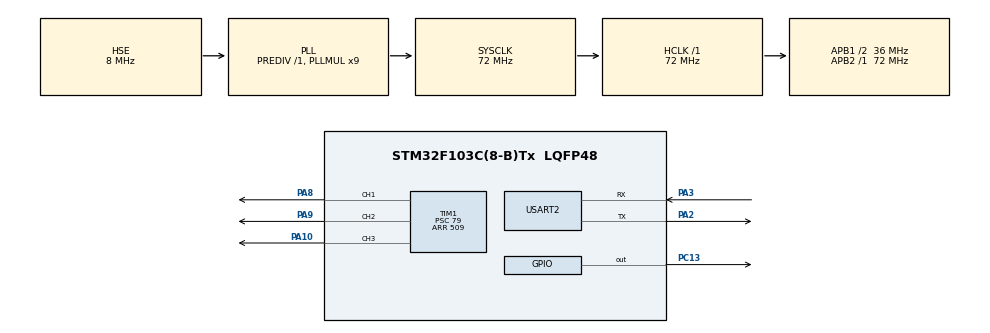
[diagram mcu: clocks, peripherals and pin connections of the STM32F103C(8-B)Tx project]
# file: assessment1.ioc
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Mcu.Family=STM32F1
Mcu.Name=STM32F103C(8-B)Tx
Mcu.Package=LQFP48
NVIC.PriorityGroup=NVIC_PRIORITYGROUP_4
NVIC.USART2_IRQn=true\:0\:0\:false\:false\:true\:true\:true\:true
PA10.Signal=S_TIM1_CH3
PA13.Mode=Serial_Wire
PA13.Signal=SYS_JTMS-SWDIO
PA14.Mode=Serial_Wire
PA14.Signal=SYS_JTCK-SWCLK
PA2.Mode=Asynchronous
PA2.Signal=USART2_TX
PA3.Mode=Asynchronous
PA3.Signal=USART2_RX
PA8.Signal=S_TIM1_CH1
PA9.Signal=S_TIM1_CH2
PC13-TAMPER-RTC.Signal=GPIO_Output
PD0-OSC_IN.Mode=HSE-External-Oscillator
PD0-OSC_IN.Signal=RCC_OSC_IN
PD1-OSC_OUT.Mode=HSE-External-Oscillator
PD1-OSC_OUT.Signal=RCC_OSC_OUT
ProjectManager.HeapSize=0x200
ProjectManager.StackSize=0x400
ProjectManager.TargetToolchain=CMake
RCC.AHBFreq_Value=72000000
RCC.APB1CLKDivider=RCC_HCLK_DIV2
RCC.APB1Freq_Value=36000000
RCC.APB1TimFreq_Value=72000000
RCC.APB2Freq_Value=72000000
RCC.APB2TimFreq_Value=72000000
RCC.HCLKFreq_Value=72000000
RCC.PLLMUL=RCC_PLL_MUL9
RCC.PLLSourceVirtual=RCC_PLLSOURCE_HSE
RCC.SYSCLKFreq_VALUE=72000000
RCC.SYSCLKSource=RCC_SYSCLKSOURCE_PLLCLK
RCC.USBFreq_Value=72000000
SH.S_TIM1_CH1.0=TIM1_CH1,PWM Generation1 CH1
SH.S_TIM1_CH2.0=TIM1_CH2,PWM Generation2 CH2
SH.S_TIM1_CH3.0=TIM1_CH3,PWM Generation3 CH3
TIM1.Channel-PWM\ Generation1\ CH1=TIM_CHANNEL_1
TIM1.Channel-PWM\ Generation2\ CH2=TIM_CHANNEL_2
TIM1.Channel-PWM\ Generation3\ CH3=TIM_CHANNEL_3
TIM1.Period=509
TIM1.Prescaler=79
USART2.VirtualMode=VM_ASYNC
board=custom

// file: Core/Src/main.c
/* USER CODE BEGIN Header */
/**
  ******************************************************************************
  * @file           : main.c
  * @brief          : Main program body
  ******************************************************************************
  * @attention
  *
  * Copyright (c) 2026 STMicroelectronics.
  * All rights reserved.
  *
  * This software is licensed under terms that can be found in the LICENSE file
  * in the root directory of this software component.
  * If no LICENSE file comes with this software, it is provided AS-IS.
  *
  ******************************************************************************
  */
/* USER CODE END Header */
#include "main.h"
#include "stm32f1xx_hal_uart.h"
#include <stdint.h>

/* USER CODE BEGIN PD */
uint8_t rx;
uint8_t rxindex = 0;
uint8_t rxs[6];
uint8_t receive[6] = {0};
/* USER CODE END PD */

TIM_HandleTypeDef htim1;

UART_HandleTypeDef huart2;

void SystemClock_Config(void);
static void MX_GPIO_Init(void);
static void MX_TIM1_Init(void);
static void MX_USART2_UART_Init(void);

/* USER CODE BEGIN 0 */
void HAL_UART_RxCpltCallback(UART_HandleTypeDef *huart);
int hexCharToValue(uint8_t c);
/* USER CODE END 0 */

int main(void)
{

  /* MCU Configuration--------------------------------------------------------*/

  /* Reset of all peripherals, Initializes the Flash interface and the Systick. */
  HAL_Init();

  /* Configure the system clock */
  SystemClock_Config();

  /* Initialize all configured peripherals */
  MX_GPIO_Init();
  MX_TIM1_Init();
  MX_USART2_UART_Init();
  /* USER CODE BEGIN 2 */
  HAL_UART_Receive_IT(&huart2,&rx,1);
  if (HAL_TIM_PWM_Start(&htim1, TIM_CHANNEL_1) != HAL_OK)
  {
    Error_Handler();
  }
  if (HAL_TIM_PWM_Start(&htim1, TIM_CHANNEL_2) != HAL_OK)
  {
    Error_Handler();
  }
  if (HAL_TIM_PWM_Start(&htim1, TIM_CHANNEL_3) != HAL_OK)
  {
    Error_Handler();
  }

  /* USER CODE END 2 */

  /* Infinite loop */
  /* USER CODE BEGIN WHILE */

  int red = 0;
  int green = 0;
  int blue = 0;
  while (1)
  {
    red = (int)hexCharToValue(receive[0]) * 16 + (int)hexCharToValue(receive[1]);
    green = (int)hexCharToValue(receive[2]) * 16 + (int)hexCharToValue(receive[3]);
    blue = (int)hexCharToValue(receive[4]) * 16 + (int)hexCharToValue(receive[5]);
    /* USER CODE END WHILE */

    /* USER CODE BEGIN 3 */
    __HAL_TIM_SET_COMPARE(&htim1, TIM_CHANNEL_1, red);
    HAL_Delay(50);
    __HAL_TIM_SET_COMPARE(&htim1, TIM_CHANNEL_2, green);
    HAL_Delay(50);
    __HAL_TIM_SET_COMPARE(&htim1, TIM_CHANNEL_3, blue);
    HAL_Delay(50);
  }
  /* USER CODE END 3 */
}

void SystemClock_Config(void)
{
  RCC_OscInitTypeDef RCC_OscInitStruct = {0};
  RCC_ClkInitTypeDef RCC_ClkInitStruct = {0};

  /** Initializes the RCC Oscillators according to the specified parameters
  * in the RCC_OscInitTypeDef structure.
  */
  RCC_OscInitStruct.OscillatorType = RCC_OSCILLATORTYPE_HSE;
  RCC_OscInitStruct.HSEState = RCC_HSE_ON;
  RCC_OscInitStruct.HSEPredivValue = RCC_HSE_PREDIV_DIV1;
  RCC_OscInitStruct.HSIState = RCC_HSI_ON;
  RCC_OscInitStruct.PLL.PLLState = RCC_PLL_ON;
  RCC_OscInitStruct.PLL.PLLSource = RCC_PLLSOURCE_HSE;
  RCC_OscInitStruct.PLL.PLLMUL = RCC_PLL_MUL9;
  if (HAL_RCC_OscConfig(&RCC_OscInitStruct) != HAL_OK)
  {
    Error_Handler();
  }

  /** Initializes the CPU, AHB and APB buses clocks
  */
  RCC_ClkInitStruct.ClockType = RCC_CLOCKTYPE_HCLK|RCC_CLOCKTYPE_SYSCLK
                              |RCC_CLOCKTYPE_PCLK1|RCC_CLOCKTYPE_PCLK2;
  RCC_ClkInitStruct.SYSCLKSource = RCC_SYSCLKSOURCE_PLLCLK;
  RCC_ClkInitStruct.AHBCLKDivider = RCC_SYSCLK_DIV1;
  RCC_ClkInitStruct.APB1CLKDivider = RCC_HCLK_DIV2;
  RCC_ClkInitStruct.APB2CLKDivider = RCC_HCLK_DIV1;

  if (HAL_RCC_ClockConfig(&RCC_ClkInitStruct, FLASH_LATENCY_2) != HAL_OK)
  {
    Error_Handler();
  }
}

static void MX_TIM1_Init(void)
{

  TIM_MasterConfigTypeDef sMasterConfig = {0};
  TIM_OC_InitTypeDef sConfigOC = {0};
  TIM_BreakDeadTimeConfigTypeDef sBreakDeadTimeConfig = {0};

  htim1.Instance = TIM1;
  htim1.Init.Prescaler = 79;
  htim1.Init.CounterMode = TIM_COUNTERMODE_UP;
  htim1.Init.Period = 509;
  htim1.Init.ClockDivision = TIM_CLOCKDIVISION_DIV1;
  htim1.Init.RepetitionCounter = 0;
  htim1.Init.AutoReloadPreload = TIM_AUTORELOAD_PRELOAD_DISABLE;
  if (HAL_TIM_PWM_Init(&htim1) != HAL_OK)
  {
    Error_Handler();
  }
  sMasterConfig.MasterOutputTrigger = TIM_TRGO_RESET;
  sMasterConfig.MasterSlaveMode = TIM_MASTERSLAVEMODE_DISABLE;
  if (HAL_TIMEx_MasterConfigSynchronization(&htim1, &sMasterConfig) != HAL_OK)
  {
    Error_Handler();
  }
  sConfigOC.OCMode = TIM_OCMODE_PWM1;
  sConfigOC.Pulse = 0;
  sConfigOC.OCPolarity = TIM_OCPOLARITY_HIGH;
  sConfigOC.OCNPolarity = TIM_OCNPOLARITY_HIGH;
  sConfigOC.OCFastMode = TIM_OCFAST_DISABLE;
  sConfigOC.OCIdleState = TIM_OCIDLESTATE_RESET;
  sConfigOC.OCNIdleState = TIM_OCNIDLESTATE_RESET;
  if (HAL_TIM_PWM_ConfigChannel(&htim1, &sConfigOC, TIM_CHANNEL_1) != HAL_OK)
  {
    Error_Handler();
  }
  if (HAL_TIM_PWM_ConfigChannel(&htim1, &sConfigOC, TIM_CHANNEL_2) != HAL_OK)
  {
    Error_Handler();
  }
  if (HAL_TIM_PWM_ConfigChannel(&htim1, &sConfigOC, TIM_CHANNEL_3) != HAL_OK)
  {
    Error_Handler();
  }
  sBreakDeadTimeConfig.OffStateRunMode = TIM_OSSR_DISABLE;
  sBreakDeadTimeConfig.OffStateIDLEMode = TIM_OSSI_DISABLE;
  sBreakDeadTimeConfig.LockLevel = TIM_LOCKLEVEL_OFF;
  sBreakDeadTimeConfig.DeadTime = 0;
  sBreakDeadTimeConfig.BreakState = TIM_BREAK_DISABLE;
  sBreakDeadTimeConfig.BreakPolarity = TIM_BREAKPOLARITY_HIGH;
  sBreakDeadTimeConfig.AutomaticOutput = TIM_AUTOMATICOUTPUT_DISABLE;
  if (HAL_TIMEx_ConfigBreakDeadTime(&htim1, &sBreakDeadTimeConfig) != HAL_OK)
  {
    Error_Handler();
  }
  HAL_TIM_MspPostInit(&htim1);

}

static void MX_USART2_UART_Init(void)
{

  huart2.Instance = USART2;
  huart2.Init.BaudRate = 115200;
  huart2.Init.WordLength = UART_WORDLENGTH_8B;
  huart2.Init.StopBits = UART_STOPBITS_1;
  huart2.Init.Parity = UART_PARITY_NONE;
  huart2.Init.Mode = UART_MODE_TX_RX;
  huart2.Init.HwFlowCtl = UART_HWCONTROL_NONE;
  huart2.Init.OverSampling = UART_OVERSAMPLING_16;
  if (HAL_UART_Init(&huart2) != HAL_OK)
  {
    Error_Handler();
  }

}

static void MX_GPIO_Init(void)
{
  GPIO_InitTypeDef GPIO_InitStruct = {0};

  /* GPIO Ports Clock Enable */
  __HAL_RCC_GPIOC_CLK_ENABLE();
  __HAL_RCC_GPIOD_CLK_ENABLE();
  __HAL_RCC_GPIOA_CLK_ENABLE();

  /*Configure GPIO pin Output Level */
  HAL_GPIO_WritePin(GPIOC, GPIO_PIN_13, GPIO_PIN_RESET);

  /*Configure GPIO pin : PC13 */
  GPIO_InitStruct.Pin = GPIO_PIN_13;
  GPIO_InitStruct.Mode = GPIO_MODE_OUTPUT_PP;
  GPIO_InitStruct.Pull = GPIO_NOPULL;
  GPIO_InitStruct.Speed = GPIO_SPEED_FREQ_LOW;
  HAL_GPIO_Init(GPIOC, &GPIO_InitStruct);

}

/* USER CODE BEGIN 4 */
void HAL_UART_RxCpltCallback(UART_HandleTypeDef *huart) {
  HAL_UART_Transmit_IT(&huart2, &rx, 1);
  if (huart->Instance == USART2) {
    uint8_t b = rx;
    if (b == '#') {
      rxindex = 0;
    }
    else if (rxindex< 6) {
      rxs[rxindex++] = b;
    }
    if (rxindex == 6) {
      receive[0] =rxs[0];
      receive[1] = rxs[1];
      receive[2] = rxs[2];
      receive[3] = rxs[3];
      receive[4] = rxs[4];
      receive[5] = rxs[5];
      rxindex = 0;
    }
    HAL_UART_Receive_IT(&huart2, &rx, 1);
  }
}
int hexCharToValue(uint8_t c) {
    if (c >= '0' && c <= '9') {
        return c - '0';
    } else if (c >= 'A' && c <= 'F') {
        return c - 'A' + 10;
    } else if (c >= 'a' && c <= 'f') {
        return c - 'a' + 10;
    } else {
        return -1; // 无效字符
    }
}
/* USER CODE END 4 */

void Error_Handler(void)
{
  __disable_irq();
  while (1)
  {
  }
}
